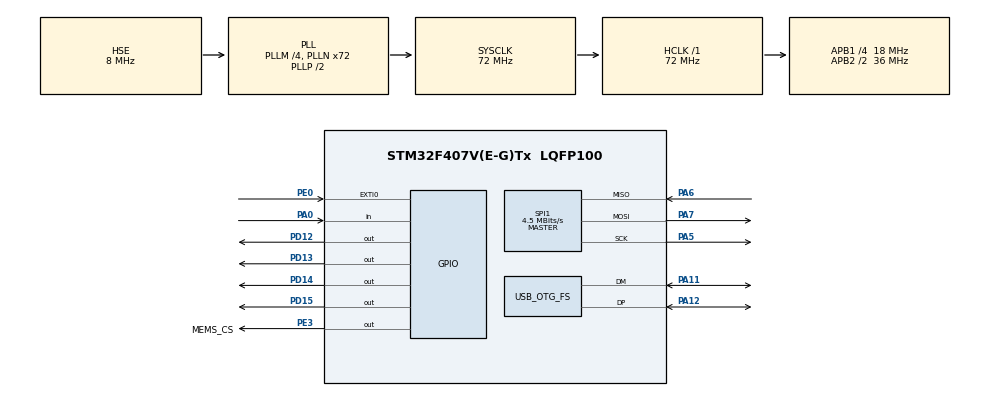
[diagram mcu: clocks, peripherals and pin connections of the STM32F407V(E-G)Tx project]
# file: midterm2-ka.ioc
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Mcu.Family=STM32F4
Mcu.Name=STM32F407V(E-G)Tx
Mcu.Package=LQFP100
NVIC.EXTI0_IRQn=true\:0\:0\:false\:false\:true\:true\:true\:true
NVIC.OTG_FS_IRQn=true\:0\:0\:false\:false\:true\:false\:true\:true
NVIC.PriorityGroup=NVIC_PRIORITYGROUP_0
PA0-WKUP.Signal=GPIO_Input
PA11.Mode=Device_Only
PA11.Signal=USB_OTG_FS_DM
PA12.Mode=Device_Only
PA12.Signal=USB_OTG_FS_DP
PA5.Mode=Full_Duplex_Master
PA5.Signal=SPI1_SCK
PA6.Mode=Full_Duplex_Master
PA6.Signal=SPI1_MISO
PA7.Mode=Full_Duplex_Master
PA7.Signal=SPI1_MOSI
PD12.Signal=GPIO_Output
PD13.Signal=GPIO_Output
PD14.Signal=GPIO_Output
PD15.Signal=GPIO_Output
PE0.Signal=GPXTI0
PE3.GPIO_Label=MEMS_CS
PE3.Signal=GPIO_Output
PH0-OSC_IN.Mode=HSE-External-Oscillator
PH0-OSC_IN.Signal=RCC_OSC_IN
PH1-OSC_OUT.Mode=HSE-External-Oscillator
PH1-OSC_OUT.Signal=RCC_OSC_OUT
ProjectManager.HeapSize=0x200
ProjectManager.StackSize=0x400
ProjectManager.TargetToolchain=STM32CubeIDE
RCC.48MHZClocksFreq_Value=48000000
RCC.AHBFreq_Value=72000000
RCC.APB1CLKDivider=RCC_HCLK_DIV4
RCC.APB1Freq_Value=18000000
RCC.APB1TimFreq_Value=36000000
RCC.APB2CLKDivider=RCC_HCLK_DIV2
RCC.APB2Freq_Value=36000000
RCC.APB2TimFreq_Value=72000000
RCC.CortexFreq_Value=72000000
RCC.HCLKFreq_Value=72000000
RCC.HSE_VALUE=8000000
RCC.HSI_VALUE=16000000
RCC.LSE_VALUE=32768
RCC.PLLM=4
RCC.PLLN=72
RCC.PLLQ=3
RCC.SYSCLKFreq_VALUE=72000000
RCC.SYSCLKSource=RCC_SYSCLKSOURCE_PLLCLK
RCC.VCOOutputFreq_Value=144000000
SPI1.BaudRatePrescaler=SPI_BAUDRATEPRESCALER_8
SPI1.CalculateBaudRate=4.5 MBits/s
SPI1.DataSize=SPI_DATASIZE_8BIT
SPI1.Direction=SPI_DIRECTION_2LINES
SPI1.Mode=SPI_MODE_MASTER
SPI1.VirtualType=VM_MASTER
USB_DEVICE.CLASS_NAME_FS=CDC
USB_DEVICE.VirtualMode-CDC_FS=Cdc
USB_DEVICE.VirtualModeFS=Cdc_FS
USB_OTG_FS.VirtualMode=Device_Only
VP_USB_DEVICE_VS_USB_DEVICE_CDC_FS.Mode=CDC_FS
board=STM32F407G-DISC1

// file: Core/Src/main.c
/* USER CODE BEGIN Header */
/**
  ******************************************************************************
  * @file           : main.c
  * @brief          : Main program body
  ******************************************************************************
  * @attention
  *
  * Copyright (c) 2023 STMicroelectronics.
  * All rights reserved.
  *
  * This software is licensed under terms that can be found in the LICENSE file
  * in the root directory of this software component.
  * If no LICENSE file comes with this software, it is provided AS-IS.
  *
  ******************************************************************************
  */
/* USER CODE END Header */
#include "main.h"
#include "usb_device.h"

/* USER CODE BEGIN Includes */
#include <stdlib.h>
#include "MY_LIS3DSH.h"

/* USER CODE END Includes */

/* USER CODE BEGIN PTD */
typedef struct{
	LIS3DSH_DataScaled accdata;
	char charbuffer[50];
}forwarddata;
/* USER CODE END PTD */

SPI_HandleTypeDef hspi1;
forwarddata fwdt;
int drdyFlag;

void SystemClock_Config(void);
static void MX_GPIO_Init(void);
static void MX_SPI1_Init(void);

int main(void)
{

  /* MCU Configuration--------------------------------------------------------*/

  /* Reset of all peripherals, Initializes the Flash interface and the Systick. */
  HAL_Init();

  /* Configure the system clock */
  SystemClock_Config();

  /* Initialize all configured peripherals */
  MX_GPIO_Init();
  MX_SPI1_Init();
  MX_USB_DEVICE_Init();
  /* USER CODE BEGIN 2 */
	LIS3DSH_InitTypeDef myAccConfigDef;
  	myAccConfigDef.dataRate = LIS3DSH_DATARATE_800;
	myAccConfigDef.fullScale = LIS3DSH_FULLSCALE_4;
	myAccConfigDef.antiAliasingBW = LIS3DSH_FILTER_BW_50;
	myAccConfigDef.enableAxes = LIS3DSH_XYZ_ENABLE;
	myAccConfigDef.interruptEnable = true;
	LIS3DSH_Init(&hspi1, &myAccConfigDef);

	LIS3DSH_X_calibrate(-1000.0, 980.0);
	LIS3DSH_Y_calibrate(-1020.0, 1040.0);
	LIS3DSH_Z_calibrate(-920.0, 1040.0);
	CDC_Transmit_FS((uint8_t*) "\n", (uint16_t) strlen("\n"));
  /* USER CODE END 2 */

  /* Infinite loop */
  while (1)
  {

    /* USER CODE BEGIN 3 */
	  if(drdyFlag)
	  {
	  		fwdt.accdata = LIS3DSH_GetDataScaled();
	        snprintf(fwdt.charbuffer, sizeof(fwdt.charbuffer), "%f,%f,%f\n", fwdt.accdata.x,fwdt.accdata.y,fwdt.accdata.z);
	        CDC_Transmit_FS((uint8_t*) fwdt.charbuffer, (uint16_t) strlen(fwdt.charbuffer));
	  		memset(fwdt.charbuffer,'\0',sizeof(fwdt.charbuffer));
	        drdyFlag=0;
	  }
  }
  /* USER CODE END 3 */
}

void SystemClock_Config(void)
{
  RCC_OscInitTypeDef RCC_OscInitStruct = {0};
  RCC_ClkInitTypeDef RCC_ClkInitStruct = {0};

  /** Configure the main internal regulator output voltage
  */
  __HAL_RCC_PWR_CLK_ENABLE();
  __HAL_PWR_VOLTAGESCALING_CONFIG(PWR_REGULATOR_VOLTAGE_SCALE1);

  /** Initializes the RCC Oscillators according to the specified parameters
  * in the RCC_OscInitTypeDef structure.
  */
  RCC_OscInitStruct.OscillatorType = RCC_OSCILLATORTYPE_HSE;
  RCC_OscInitStruct.HSEState = RCC_HSE_ON;
  RCC_OscInitStruct.PLL.PLLState = RCC_PLL_ON;
  RCC_OscInitStruct.PLL.PLLSource = RCC_PLLSOURCE_HSE;
  RCC_OscInitStruct.PLL.PLLM = 4;
  RCC_OscInitStruct.PLL.PLLN = 72;
  RCC_OscInitStruct.PLL.PLLP = RCC_PLLP_DIV2;
  RCC_OscInitStruct.PLL.PLLQ = 3;
  if (HAL_RCC_OscConfig(&RCC_OscInitStruct) != HAL_OK)
  {
    Error_Handler();
  }

  /** Initializes the CPU, AHB and APB buses clocks
  */
  RCC_ClkInitStruct.ClockType = RCC_CLOCKTYPE_HCLK|RCC_CLOCKTYPE_SYSCLK
                              |RCC_CLOCKTYPE_PCLK1|RCC_CLOCKTYPE_PCLK2;
  RCC_ClkInitStruct.SYSCLKSource = RCC_SYSCLKSOURCE_PLLCLK;
  RCC_ClkInitStruct.AHBCLKDivider = RCC_SYSCLK_DIV1;
  RCC_ClkInitStruct.APB1CLKDivider = RCC_HCLK_DIV4;
  RCC_ClkInitStruct.APB2CLKDivider = RCC_HCLK_DIV2;

  if (HAL_RCC_ClockConfig(&RCC_ClkInitStruct, FLASH_LATENCY_2) != HAL_OK)
  {
    Error_Handler();
  }
}

static void MX_SPI1_Init(void)
{

  /* SPI1 parameter configuration*/
  hspi1.Instance = SPI1;
  hspi1.Init.Mode = SPI_MODE_MASTER;
  hspi1.Init.Direction = SPI_DIRECTION_2LINES;
  hspi1.Init.DataSize = SPI_DATASIZE_8BIT;
  hspi1.Init.CLKPolarity = SPI_POLARITY_LOW;
  hspi1.Init.CLKPhase = SPI_PHASE_1EDGE;
  hspi1.Init.NSS = SPI_NSS_SOFT;
  hspi1.Init.BaudRatePrescaler = SPI_BAUDRATEPRESCALER_8;
  hspi1.Init.FirstBit = SPI_FIRSTBIT_MSB;
  hspi1.Init.TIMode = SPI_TIMODE_DISABLE;
  hspi1.Init.CRCCalculation = SPI_CRCCALCULATION_DISABLE;
  hspi1.Init.CRCPolynomial = 10;
  if (HAL_SPI_Init(&hspi1) != HAL_OK)
  {
    Error_Handler();
  }

}

static void MX_GPIO_Init(void)
{
  GPIO_InitTypeDef GPIO_InitStruct = {0};

  /* GPIO Ports Clock Enable */
  __HAL_RCC_GPIOE_CLK_ENABLE();
  __HAL_RCC_GPIOH_CLK_ENABLE();
  __HAL_RCC_GPIOA_CLK_ENABLE();
  __HAL_RCC_GPIOD_CLK_ENABLE();

  /*Configure GPIO pin Output Level */
  HAL_GPIO_WritePin(MEMS_CS_GPIO_Port, MEMS_CS_Pin, GPIO_PIN_RESET);

  /*Configure GPIO pin Output Level */
  HAL_GPIO_WritePin(GPIOD, GPIO_PIN_12|GPIO_PIN_13|GPIO_PIN_14|GPIO_PIN_15, GPIO_PIN_RESET);

  /*Configure GPIO pin : MEMS_CS_Pin */
  GPIO_InitStruct.Pin = MEMS_CS_Pin;
  GPIO_InitStruct.Mode = GPIO_MODE_OUTPUT_PP;
  GPIO_InitStruct.Pull = GPIO_NOPULL;
  GPIO_InitStruct.Speed = GPIO_SPEED_FREQ_LOW;
  HAL_GPIO_Init(MEMS_CS_GPIO_Port, &GPIO_InitStruct);

  /*Configure GPIO pin : PA0 */
  GPIO_InitStruct.Pin = GPIO_PIN_0;
  GPIO_InitStruct.Mode = GPIO_MODE_INPUT;
  GPIO_InitStruct.Pull = GPIO_NOPULL;
  HAL_GPIO_Init(GPIOA, &GPIO_InitStruct);

  /*Configure GPIO pins : PD12 PD13 PD14 PD15 */
  GPIO_InitStruct.Pin = GPIO_PIN_12|GPIO_PIN_13|GPIO_PIN_14|GPIO_PIN_15;
  GPIO_InitStruct.Mode = GPIO_MODE_OUTPUT_PP;
  GPIO_InitStruct.Pull = GPIO_NOPULL;
  GPIO_InitStruct.Speed = GPIO_SPEED_FREQ_LOW;
  HAL_GPIO_Init(GPIOD, &GPIO_InitStruct);

  /*Configure GPIO pin : PE0 */
  GPIO_InitStruct.Pin = GPIO_PIN_0;
  GPIO_InitStruct.Mode = GPIO_MODE_IT_RISING;
  GPIO_InitStruct.Pull = GPIO_NOPULL;
  HAL_GPIO_Init(GPIOE, &GPIO_InitStruct);

  /* EXTI interrupt init*/
  HAL_NVIC_SetPriority(EXTI0_IRQn, 0, 0);
  HAL_NVIC_EnableIRQ(EXTI0_IRQn);

}

/* USER CODE BEGIN 4 */
void HAL_GPIO_EXTI_Callback(uint16_t GPIO_Pin)
{
		drdyFlag = 1;
}
/* USER CODE END 4 */

void Error_Handler(void)
{
  __disable_irq();
  while (1)
  {
  }
}
